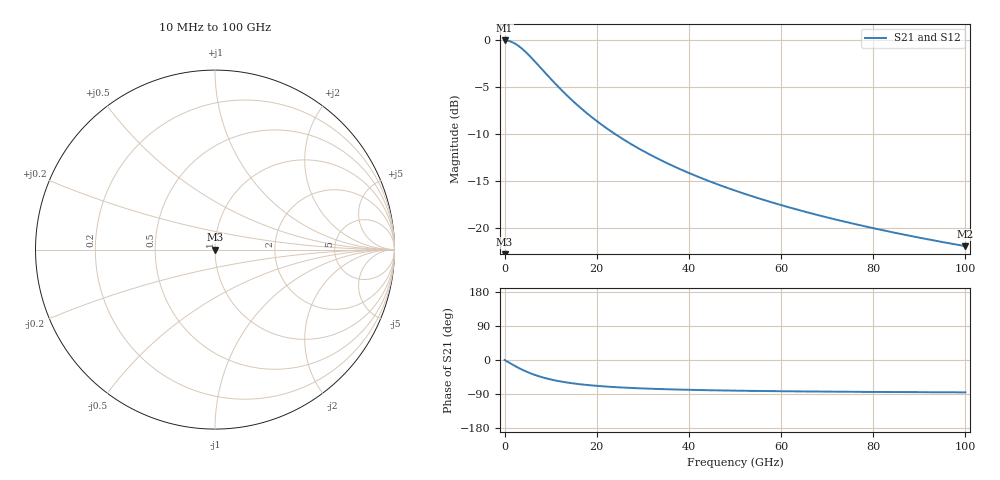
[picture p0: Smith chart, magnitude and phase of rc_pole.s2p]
! GOLDEN FIXTURE - generated by generate_golden_channels.py
! Matched single-pole low-pass, fc = 8 GHz (tau_c = 19.894 ps)
! Known result: worst-case NRZ eye opening at phase phi is
! 2*(1 - 2*exp(-phi/tau_c)) for UI-aligned sampling
# HZ S RI R 50
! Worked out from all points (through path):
!   1500 points, 10 MHz to 100 GHz, reference 50 ohm
!   highest |S21| = 0.00 dB at 10 MHz (marker M1); lowest = -22.0 dB at 100 GHz (marker M2)
!   lowest |S11| = - dB at 10 MHz (marker M3), VSWR 1.00, Z = 50 + j0 ohm
!   |S11| at or under -10 dB: start of sweep to end of sweep
!   |S22| runs from - to - dB; largest |S21 - S12| = 0
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1e7  0 0  1 -0.00125  1 -0.00125  0 0
4.102268e8  0 0  0.9974 -0.0511  0.9974 -0.0511  0 0
1.477498e9  0 0  0.967 -0.1786  0.967 -0.1786  0 0
2.344656e9  0 0  0.9209 -0.2699  0.9209 -0.2699  0 0
3.211815e9  0 0  0.8612 -0.3457  0.8612 -0.3457  0 0
4.545904e9  0 0  0.7559 -0.4295  0.7559 -0.4295  0 0
6.013402e9  0 0  0.639 -0.4803  0.639 -0.4803  0 0
7.147378e9  0 0  0.5561 -0.4968  0.5561 -0.4968  0 0
8.414763e9  0 0  0.4747 -0.4994  0.4747 -0.4994  0 0
9.615444e9  0 0  0.4091 -0.4917  0.4091 -0.4917  0 0
1.081612e10  0 0  0.3536 -0.4781  0.3536 -0.4781  0 0
1.355101e10  0 0  0.2585 -0.4378  0.2585 -0.4378  0 0
1.668612e10  0 0  0.1869 -0.3898  0.1869 -0.3898  0 0
1.982123e10  0 0  0.1401 -0.3471  0.1401 -0.3471  0 0
2.348997e10  0 0  0.1039 -0.3052  0.1039 -0.3052  0 0
2.789247e10  0 0  0.076 -0.265  0.076 -0.265  0 0
3.336223e10  0 0  0.0544 -0.2268  0.0544 -0.2268  0 0
4.123336e10  0 0  0.0363 -0.187  0.0363 -0.187  0 0
5.003835e10  0 0  0.0249 -0.1559  0.0249 -0.1559  0 0
6.671447e10  0 0  0.0142 -0.1182  0.0142 -0.1182  0 0
8.339059e10  0 0  0.00912 -0.0951  0.00912 -0.0951  0 0
1e11  0 0  0.00636 -0.0795  0.00636 -0.0795  0 0
